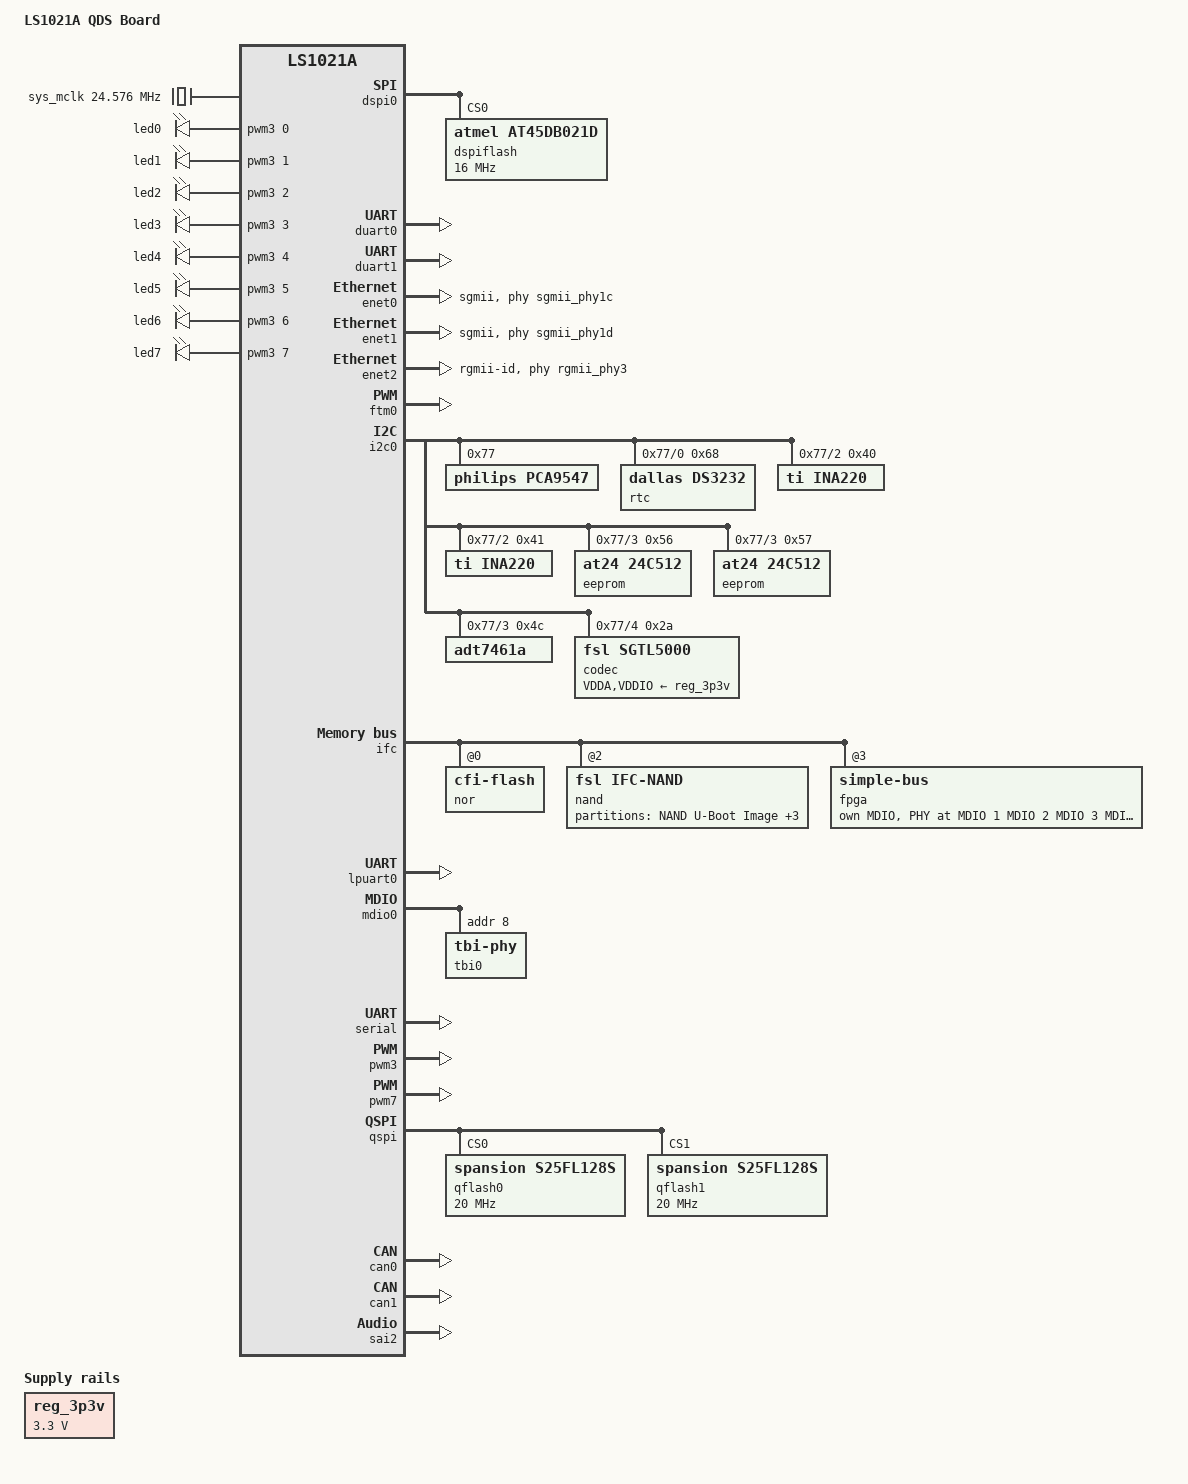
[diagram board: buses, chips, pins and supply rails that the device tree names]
/*
 * Copyright 2013-2014 Freescale Semiconductor, Inc.
 *
 * This program is free software; you can redistribute it and/or modify
 * it under the terms of the GNU General Public License as published by
 * the Free Software Foundation; either version 2 of the License, or
 * (at your option) any later version.
 */

/dts-v1/;
#include "ls1021a.dtsi"

/ {
	model = "LS1021A QDS Board";

	aliases {
		enet0_rgmii_phy = &rgmii_phy1;
		enet1_rgmii_phy = &rgmii_phy2;
		enet2_rgmii_phy = &rgmii_phy3;
		enet0_sgmii_phy = &sgmii_phy1c;
		enet1_sgmii_phy = &sgmii_phy1d;
	};

	clocks {
		sys_mclk: clock {
			compatible = "fixed-clock";
			#clock-cells = <0>;
			clock-frequency = <24576000>;
		};
	};

	regulators {
		compatible = "simple-bus";
		#address-cells = <1>;
		#size-cells = <0>;

		reg_3p3v: regulator@0 {
			compatible = "regulator-fixed";
			reg = <0>;
			regulator-name = "3P3V";
			regulator-min-microvolt = <3300000>;
			regulator-max-microvolt = <3300000>;
			regulator-always-on;
		};
	};

	sound {
		compatible = "fsl,vf610-sgtl5000";
		simple-audio-card,name = "FSL-VF610-TWR-BOARD";
		simple-audio-card,routing =
			"MIC_IN", "Microphone Jack",
			"Microphone Jack", "Mic Bias",
			"LINE_IN", "Line In Jack",
			"Headphone Jack", "HP_OUT",
			"Speaker Ext", "LINE_OUT";

		simple-audio-card,cpu = <&sai2>;

		simple-audio-card,codec = <&codec>;
	};

	soc {
		leds {
			compatible = "pwm-leds";
			led0 {
				label = "led0";
				pwms = <&pwm3 0 150000 0>;
				max-brightness = <100>;
			};
			led1 {
				label = "led1";
				pwms = <&pwm3 1 150000 0>;
				max-brightness = <100>;
			};
			led2 {
				label = "led2";
				pwms = <&pwm3 2 150000 0>;
				max-brightness = <100>;
			};
			led3 {
				label = "led3";
				pwms = <&pwm3 3 150000 0>;
				max-brightness = <100>;
			};
			led4 {
				label = "led4";
				pwms = <&pwm3 4 150000 0>;
				max-brightness = <100>;
			};
			led5 {
				label = "led5";
				pwms = <&pwm3 5 150000 0>;
				max-brightness = <100>;
			};
			led6 {
				label = "led6";
				pwms = <&pwm3 6 150000 0>;
				max-brightness = <100>;
			};
			led7 {
				label = "led7";
				pwms = <&pwm3 7 150000 0>;
				max-brightness = <100>;
			};
		};
	};
};

&dspi0 {
	bus-num = <0>;
	status = "okay";

	dspiflash: at45db021d@0 {
		compatible = "atmel,at45db021d", "atmel,at45", "atmel,dataflash";
		#address-cells = <1>;
		#size-cells = <1>;
		spi-max-frequency = <16000000>;
		spi-cpol;
		spi-cpha;
		reg = <0>;
	};
};

&duart0 {
	status = "okay";
};

&duart1 {
	status = "okay";
};

&enet0 {
	tbi-handle = <&tbi0>;
	phy-handle = <&sgmii_phy1c>;
	phy-connection-type = "sgmii";
	status = "okay";
};

&enet1 {
	tbi-handle = <&tbi0>;
	phy-handle = <&sgmii_phy1d>;
	phy-connection-type = "sgmii";
	status = "okay";
};

&enet2 {
	phy-handle = <&rgmii_phy3>;
	phy-connection-type = "rgmii-id";
	status = "okay";
};

&ftm0 {
	status = "okay";
};

&i2c0 {
	status = "okay";
	pca9547@77 {
		compatible = "philips,pca9547";
		reg = <0x77>;
		#address-cells = <1>;
		#size-cells = <0>;

		i2c@0 {
			#address-cells = <1>;
			#size-cells = <0>;
			reg = <0x0>;

			rtc@68 {
				compatible = "dallas,ds3232";
				reg = <0x68>;
				interrupts = <GIC_SPI 169 IRQ_TYPE_LEVEL_HIGH>;
			};
		};

		i2c@2 {
			#address-cells = <1>;
			#size-cells = <0>;
			reg = <0x2>;

			ina220@40 {
				compatible = "ti,ina220";
				reg = <0x40>;
				shunt-resistor = <1000>;
			};

			ina220@41 {
				compatible = "ti,ina220";
				reg = <0x41>;
				shunt-resistor = <1000>;
			};
		};

		i2c@3 {
			#address-cells = <1>;
			#size-cells = <0>;
			reg = <0x3>;

			eeprom@56 {
				compatible = "at24,24c512";
				reg = <0x56>;
			};

			eeprom@57 {
				compatible = "at24,24c512";
				reg = <0x57>;
			};

			adt7461a@4c {
				compatible = "adt7461a";
				reg = <0x4c>;
			};
		};

		i2c@4 {
			#address-cells = <1>;
			#size-cells = <0>;
			reg = <0x4>;

			codec: sgtl5000@2a {
				compatible = "fsl,sgtl5000";
				reg = <0x2a>;
				VDDA-supply = <&reg_3p3v>;
				VDDIO-supply = <&reg_3p3v>;
				clocks = <&sys_mclk 1>;
			};
		};
	};
};

&ifc {
	status = "okay";
	#address-cells = <2>;
	#size-cells = <1>;
	/* NOR, NAND Flashes and FPGA on board */
	ranges = <0x0 0x0 0x0 0x60000000 0x08000000
		0x2 0x0 0x0 0x7e800000 0x00010000
		0x3 0x0 0x0 0x7fb00000 0x00000100>;

		nor@0,0 {
			compatible = "cfi-flash";
			#address-cells = <1>;
			#size-cells = <1>;
			reg = <0x0 0x0 0x8000000>;
			bank-width = <2>;
			device-width = <1>;
		};

		nand@2,0 {
			compatible = "fsl,ifc-nand";
			#address-cells = <1>;
			#size-cells = <1>;
			reg = <0x2 0x0 0x10000>;

			partition@0 {
				/* This location must not be altered  */
				/* 1MB for u-boot Bootloader Image */
				reg = <0x0 0x00100000>;
				label = "NAND U-Boot Image";
				read-only;
			};

			partition@100000 {
				/* 1MB for DTB Image */
				reg = <0x00100000 0x00100000>;
				label = "NAND DTB Image";
			};

			partition@200000 {
				/* 10MB for Linux Kernel Image */
				reg = <0x00200000 0x00a00000>;
				label = "NAND Linux Kernel Image";
			};

			partition@c00000 {
				/* 500MB for Root file System Image */
				reg = <0x00c00000 0x1f400000>;
				label = "NAND Compressed RFS Image";
			};
		};

		fpga: board-control@3,0 {
			compatible = "simple-bus";
			#address-cells = <1>;
			#size-cells = <1>;
			reg = <0x3 0x0 0x0000100>;
			bank-width = <1>;
			device-width = <1>;
			ranges = <0 3 0 0x100>;

			mdio-mux-emi1 {
				compatible = "mdio-mux-mmioreg";
				mdio-parent-bus = <&mdio0>;
				#address-cells = <1>;
				#size-cells = <0>;
				reg = <0x54 1>; /* BRDCFG4 */
				mux-mask = <0xe0>; /* EMI1[2:0] */

				/* Onboard PHYs */
				ls1021amdio0: mdio@0 {
					reg = <0>;
					#address-cells = <1>;
					#size-cells = <0>;
					rgmii_phy1: ethernet-phy@1 {
						reg = <0x1>;
					};
				};
				ls1021amdio1: mdio@20 {
					reg = <0x20>;
					#address-cells = <1>;
					#size-cells = <0>;
					rgmii_phy2: ethernet-phy@2 {
						reg = <0x2>;
					};
				};
				ls1021amdio2: mdio@40 {
					reg = <0x40>;
					#address-cells = <1>;
					#size-cells = <0>;
					rgmii_phy3: ethernet-phy@3 {
						reg = <0x3>;
					};
				};
				ls1021amdio3: mdio@60 {
					reg = <0x60>;
					#address-cells = <1>;
					#size-cells = <0>;
					sgmii_phy1c: ethernet-phy@1c {
						reg = <0x1c>;
					};
				};
				ls1021amdio4: mdio@80 {
					reg = <0x80>;
					#address-cells = <1>;
					#size-cells = <0>;
					sgmii_phy1d: ethernet-phy@1d {
						reg = <0x1d>;
					};
				};

			};

		};
};

&lpuart0 {
	status = "okay";
};

&mdio0 {
	tbi0: tbi-phy@8 {
		reg = <0x8>;
		device_type = "tbi-phy";
	};
};

&uqe {
	tdma: ucc@2000 {
		compatible = "fsl,ucc-tdm";
		rx-clock-name = "brg1";
		tx-clock-name = "brg1";
		fsl,rx-sync-clock = "none";
		fsl,tx-sync-clock = "none";
		fsl,tx-timeslot = <0xfffffffe>;
		fsl,rx-timeslot = <0xfffffffe>;
		fsl,tdm-framer-type = "e1";
		fsl,tdm-mode = "internal-loopback";
		fsl,tdm-id = <0>;
		fsl,siram-entry-id = <0>;
	};

	serial: ucc@2200 {
		device_type = "serial";
		compatible = "ucc_uart";
		port-number = <1>;
		rx-clock-name = "brg2";
		tx-clock-name = "brg2";
	};
};

&pwm3 {
	status = "okay";
};

&pwm7 {
	status = "okay";
};

&qspi {
	num-cs = <2>;
	bus-num = <0>;
	fsl,spi-num-chipselects = <2>;
	fsl,spi-flash-chipselects = <0>;
	status = "okay";

	qflash0: s25fl128s@0 {
		compatible = "spansion,s25fl128s";
		#address-cells = <1>;
		#size-cells = <1>;
		spi-max-frequency = <20000000>;
		reg = <0>;
	};

	qflash1: s25fl128s@1 {
		compatible = "spansion,s25fl128s";
		#address-cells = <1>;
		#size-cells = <1>;
		spi-max-frequency = <20000000>;
		reg = <1>;
	};
};

&can0 {
	status = "okay";
};

&can1 {
	status = "okay";
};

&sai2 {
	status = "okay";
};
